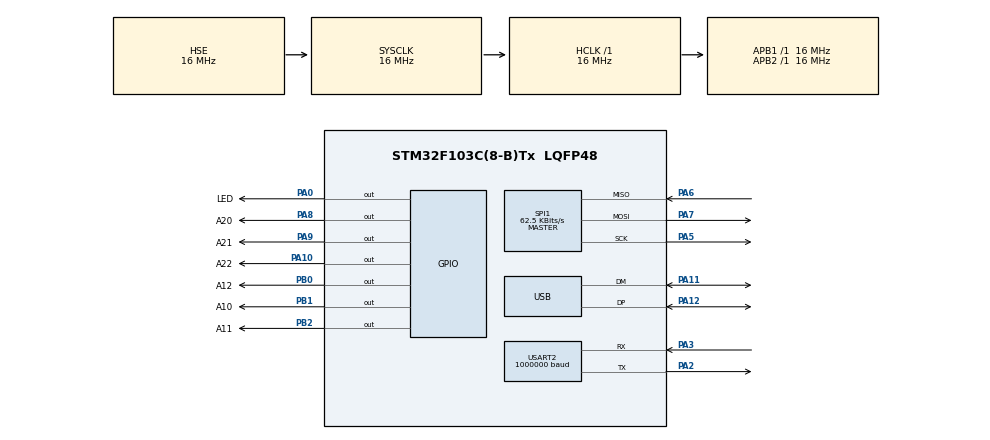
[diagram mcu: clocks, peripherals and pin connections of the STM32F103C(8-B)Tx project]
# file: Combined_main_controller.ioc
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Mcu.Family=STM32F1
Mcu.Name=STM32F103C(8-B)Tx
Mcu.Package=LQFP48
NVIC.PriorityGroup=NVIC_PRIORITYGROUP_4
NVIC.SPI1_IRQn=true\:0\:0\:false\:false\:true\:true\:true
PA0-WKUP.GPIO_Label=LED
PA0-WKUP.Signal=GPIO_Output
PA10.GPIO_Label=A22
PA10.GPIO_PuPd=GPIO_PULLDOWN
PA10.Signal=GPIO_Output
PA11.Mode=Device
PA11.Signal=USB_DM
PA12.Mode=Device
PA12.Signal=USB_DP
PA13.Mode=Serial_Wire
PA13.Signal=SYS_JTMS-SWDIO
PA14.Mode=Serial_Wire
PA14.Signal=SYS_JTCK-SWCLK
PA2.Mode=Asynchronous
PA2.Signal=USART2_TX
PA3.Mode=Asynchronous
PA3.Signal=USART2_RX
PA5.Mode=Full_Duplex_Master
PA5.Signal=SPI1_SCK
PA6.Mode=Full_Duplex_Master
PA6.Signal=SPI1_MISO
PA7.Mode=Full_Duplex_Master
PA7.Signal=SPI1_MOSI
PA8.GPIO_Label=A20
PA8.GPIO_PuPd=GPIO_PULLDOWN
PA8.Signal=GPIO_Output
PA9.GPIO_Label=A21
PA9.GPIO_PuPd=GPIO_PULLDOWN
PA9.Signal=GPIO_Output
PB0.GPIO_Label=A12
PB0.GPIO_PuPd=GPIO_PULLDOWN
PB0.Signal=GPIO_Output
PB1.GPIO_Label=A10
PB1.GPIO_PuPd=GPIO_PULLDOWN
PB1.Signal=GPIO_Output
PB2.GPIO_Label=A11
PB2.GPIO_PuPd=GPIO_PULLDOWN
PB2.Signal=GPIO_Output
PC14-OSC32_IN.Mode=LSE-External-Oscillator
PC14-OSC32_IN.Signal=RCC_OSC32_IN
PC15-OSC32_OUT.Mode=LSE-External-Oscillator
PC15-OSC32_OUT.Signal=RCC_OSC32_OUT
PD0-OSC_IN.Mode=HSE-External-Oscillator
PD0-OSC_IN.Signal=RCC_OSC_IN
PD1-OSC_OUT.Mode=HSE-External-Oscillator
PD1-OSC_OUT.Signal=RCC_OSC_OUT
ProjectManager.HeapSize=0x200
ProjectManager.StackSize=0x400
ProjectManager.TargetToolchain=STM32CubeIDE
RCC.AHBFreq_Value=16000000
RCC.APB1Freq_Value=16000000
RCC.APB1TimFreq_Value=16000000
RCC.APB2Freq_Value=16000000
RCC.APB2TimFreq_Value=16000000
RCC.HCLKFreq_Value=16000000
RCC.HSE_VALUE=16000000
RCC.PLLMUL=RCC_PLL_MUL3
RCC.SYSCLKFreq_VALUE=16000000
RCC.SYSCLKSource=RCC_SYSCLKSOURCE_HSE
RCC.USBFreq_Value=48000000
SPI1.BaudRatePrescaler=SPI_BAUDRATEPRESCALER_256
SPI1.CLKPhase=SPI_PHASE_2EDGE
SPI1.CalculateBaudRate=62.5 KBits/s
SPI1.Direction=SPI_DIRECTION_2LINES
SPI1.FirstBit=SPI_FIRSTBIT_LSB
SPI1.Mode=SPI_MODE_MASTER
SPI1.VirtualType=VM_MASTER
USART2.BaudRate=1000000
USART2.VirtualMode=VM_ASYNC
board=custom

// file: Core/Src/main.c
/* USER CODE BEGIN Header */
/**
  ******************************************************************************
  * @file           : main.c
  * @brief          : Combined main controller
  ******************************************************************************
  * @attention
  *
  * <h2><center>&copy; Copyright (c) 2022 STMicroelectronics.
  * All rights reserved.</center></h2>
  *
  * This software component is licensed by ST under BSD 3-Clause license,
  * the "License"; You may not use this file except in compliance with the
  * License. You may obtain a copy of the License at:
  *                        opensource.org/licenses/BSD-3-Clause
  *
  ******************************************************************************
  */
/* USER CODE END Header */
#include "main.h"

/* USER CODE BEGIN Includes */
#include <stdio.h>
#include <string.h>
/* USER CODE END Includes */

/* USER CODE BEGIN PTD */
enum{
	TRANSFER_WAIT,
	TRANSFER_COMPLETE,
	TRANSFER_ERROR
};
/* USER CODE END PTD */

/* USER CODE BEGIN PD */
#define BUFFERSIZE 256
/* USER CODE END PD */

SPI_HandleTypeDef hspi1;

UART_HandleTypeDef huart2;

PCD_HandleTypeDef hpcd_USB_FS;

/* USER CODE BEGIN PV */
uint8_t aTxBuffer[BUFFERSIZE] = "This is a msg from the while loop of main controller....\r\n";
uint8_t testBuffer[BUFFERSIZE] = "Before while loop 123\r\n";
uint8_t test1[] = "testpoint1\r\n";
uint8_t test2[] = "testpoint2\r\n";
uint8_t test3[] = "testpoint3\r\n";
uint8_t test4[] = "testpoint4\r\n";
uint8_t test5[] = "testpoint5\r\n";
uint8_t aRxBuffer[BUFFERSIZE]="Initial rx buf from main\r\n";
uint16_t adc_reading;
char msg[10];

/* transfer state */
__IO uint32_t wTransferState = TRANSFER_WAIT;
/* USER CODE END PV */

void SystemClock_Config(void);
static void MX_GPIO_Init(void);
static void MX_SPI1_Init(void);
static void MX_USART2_UART_Init(void);
static void MX_USB_PCD_Init(void);
/* USER CODE BEGIN PFP */
static void Timeout_Error_Handler(void);
static uint16_t Buffercmp(uint8_t *pBuffer1, uint8_t *pBuffer2, uint16_t BufferLength);
/* USER CODE END PFP */

int main(void)
{

  /* MCU Configuration--------------------------------------------------------*/

  /* Reset of all peripherals, Initializes the Flash interface and the Systick. */
  HAL_Init();

  /* Configure the system clock */
  SystemClock_Config();

  /* Initialize all configured peripherals */
  MX_GPIO_Init();
  MX_SPI1_Init();
  MX_USART2_UART_Init();
  MX_USB_PCD_Init();
  /* USER CODE BEGIN 2 */
  HAL_UART_Transmit(&huart2,&testBuffer,sizeof(testBuffer),10);// Sending in normal mode to uart
  HAL_Delay(5000);
  /* USER CODE END 2 */

  /* Infinite loop */
  while (1)
  {

    /* USER CODE BEGIN 3 */
	  //HAL_UART_Transmit(&huart2,&test1,sizeof(test1),10);

	  HAL_GPIO_WritePin(GPIOA,GPIO_PIN_8,1);
	  HAL_GPIO_WritePin(GPIOA,GPIO_PIN_9,0);
	  HAL_GPIO_WritePin(GPIOA,GPIO_PIN_10,0);
	  /*##-1- Start the Full Duplex Communication process ########################*/
	    /* While the SPI in TransmitReceive process, user can transmit data through
	       "aTxBuffer" buffer & receive data through "aRxBuffer" */
	    /* Timeout is set to 5S */
	  //HAL_UART_Transmit(&huart2,&aTxBuffer,sizeof(aTxBuffer),10);
	  HAL_UART_Transmit(&huart2,&aRxBuffer,sizeof(aRxBuffer),100);// Sending in normal mode to uart
	  adc_reading = 99;
	  adc_reading = HAL_SPI_TransmitReceive(&hspi1, (uint8_t *)aTxBuffer, (uint8_t *)aRxBuffer, BUFFERSIZE, 5000);
	  sprintf(msg, "\n error %hu\r\n", adc_reading);
	  HAL_UART_Transmit(&huart2, (uint8_t*)msg, strlen(msg), HAL_MAX_DELAY);

	  //HAL_UART_Transmit(&huart2,&test2,sizeof(test2),10);
	  HAL_Delay(2000);
	  HAL_GPIO_WritePin(GPIOA,GPIO_PIN_8,0);

//	  n=n+1;
//	  if(n==100){
//	  	n=0;
//	  }
	  HAL_Delay(2000);
	  //HAL_UART_Transmit(&huart2,&test3,sizeof(test3),10);

  }
  /* USER CODE END 3 */
}

void SystemClock_Config(void)
{
  RCC_OscInitTypeDef RCC_OscInitStruct = {0};
  RCC_ClkInitTypeDef RCC_ClkInitStruct = {0};
  RCC_PeriphCLKInitTypeDef PeriphClkInit = {0};

  /** Initializes the RCC Oscillators according to the specified parameters
  * in the RCC_OscInitTypeDef structure.
  */
  RCC_OscInitStruct.OscillatorType = RCC_OSCILLATORTYPE_HSE;
  RCC_OscInitStruct.HSEState = RCC_HSE_ON;
  RCC_OscInitStruct.HSEPredivValue = RCC_HSE_PREDIV_DIV1;
  RCC_OscInitStruct.HSIState = RCC_HSI_ON;
  RCC_OscInitStruct.PLL.PLLState = RCC_PLL_ON;
  RCC_OscInitStruct.PLL.PLLSource = RCC_PLLSOURCE_HSE;
  RCC_OscInitStruct.PLL.PLLMUL = RCC_PLL_MUL3;
  if (HAL_RCC_OscConfig(&RCC_OscInitStruct) != HAL_OK)
  {
    Error_Handler();
  }
  /** Initializes the CPU, AHB and APB buses clocks
  */
  RCC_ClkInitStruct.ClockType = RCC_CLOCKTYPE_HCLK|RCC_CLOCKTYPE_SYSCLK
                              |RCC_CLOCKTYPE_PCLK1|RCC_CLOCKTYPE_PCLK2;
  RCC_ClkInitStruct.SYSCLKSource = RCC_SYSCLKSOURCE_HSE;
  RCC_ClkInitStruct.AHBCLKDivider = RCC_SYSCLK_DIV1;
  RCC_ClkInitStruct.APB1CLKDivider = RCC_HCLK_DIV1;
  RCC_ClkInitStruct.APB2CLKDivider = RCC_HCLK_DIV1;

  if (HAL_RCC_ClockConfig(&RCC_ClkInitStruct, FLASH_LATENCY_0) != HAL_OK)
  {
    Error_Handler();
  }
  PeriphClkInit.PeriphClockSelection = RCC_PERIPHCLK_USB;
  PeriphClkInit.UsbClockSelection = RCC_USBCLKSOURCE_PLL;
  if (HAL_RCCEx_PeriphCLKConfig(&PeriphClkInit) != HAL_OK)
  {
    Error_Handler();
  }
}

static void MX_SPI1_Init(void)
{

  /* SPI1 parameter configuration*/
  hspi1.Instance = SPI1;
  hspi1.Init.Mode = SPI_MODE_MASTER;
  hspi1.Init.Direction = SPI_DIRECTION_2LINES;
  hspi1.Init.DataSize = SPI_DATASIZE_8BIT;
  hspi1.Init.CLKPolarity = SPI_POLARITY_LOW;
  hspi1.Init.CLKPhase = SPI_PHASE_2EDGE;
  hspi1.Init.NSS = SPI_NSS_SOFT;
  hspi1.Init.BaudRatePrescaler = SPI_BAUDRATEPRESCALER_256;
  hspi1.Init.FirstBit = SPI_FIRSTBIT_LSB;
  hspi1.Init.TIMode = SPI_TIMODE_DISABLE;
  hspi1.Init.CRCCalculation = SPI_CRCCALCULATION_DISABLE;
  hspi1.Init.CRCPolynomial = 10;
  if (HAL_SPI_Init(&hspi1) != HAL_OK)
  {
    Error_Handler();
  }

}

static void MX_USART2_UART_Init(void)
{

  huart2.Instance = USART2;
  huart2.Init.BaudRate = 1000000;
  huart2.Init.WordLength = UART_WORDLENGTH_8B;
  huart2.Init.StopBits = UART_STOPBITS_1;
  huart2.Init.Parity = UART_PARITY_NONE;
  huart2.Init.Mode = UART_MODE_TX_RX;
  huart2.Init.HwFlowCtl = UART_HWCONTROL_NONE;
  huart2.Init.OverSampling = UART_OVERSAMPLING_16;
  if (HAL_UART_Init(&huart2) != HAL_OK)
  {
    Error_Handler();
  }

}

static void MX_USB_PCD_Init(void)
{

  hpcd_USB_FS.Instance = USB;
  hpcd_USB_FS.Init.dev_endpoints = 8;
  hpcd_USB_FS.Init.speed = PCD_SPEED_FULL;
  hpcd_USB_FS.Init.low_power_enable = DISABLE;
  hpcd_USB_FS.Init.lpm_enable = DISABLE;
  hpcd_USB_FS.Init.battery_charging_enable = DISABLE;
  if (HAL_PCD_Init(&hpcd_USB_FS) != HAL_OK)
  {
    Error_Handler();
  }

}

static void MX_GPIO_Init(void)
{
  GPIO_InitTypeDef GPIO_InitStruct = {0};

  /* GPIO Ports Clock Enable */
  __HAL_RCC_GPIOC_CLK_ENABLE();
  __HAL_RCC_GPIOD_CLK_ENABLE();
  __HAL_RCC_GPIOA_CLK_ENABLE();
  __HAL_RCC_GPIOB_CLK_ENABLE();

  /*Configure GPIO pin Output Level */
  HAL_GPIO_WritePin(GPIOA, LED_Pin|A20_Pin|A21_Pin|A22_Pin, GPIO_PIN_RESET);

  /*Configure GPIO pin Output Level */
  HAL_GPIO_WritePin(GPIOB, A12_Pin|A10_Pin|A11_Pin, GPIO_PIN_RESET);

  /*Configure GPIO pin : LED_Pin */
  GPIO_InitStruct.Pin = LED_Pin;
  GPIO_InitStruct.Mode = GPIO_MODE_OUTPUT_PP;
  GPIO_InitStruct.Pull = GPIO_NOPULL;
  GPIO_InitStruct.Speed = GPIO_SPEED_FREQ_LOW;
  HAL_GPIO_Init(LED_GPIO_Port, &GPIO_InitStruct);

  /*Configure GPIO pins : A12_Pin A10_Pin A11_Pin */
  GPIO_InitStruct.Pin = A12_Pin|A10_Pin|A11_Pin;
  GPIO_InitStruct.Mode = GPIO_MODE_OUTPUT_PP;
  GPIO_InitStruct.Pull = GPIO_PULLDOWN;
  GPIO_InitStruct.Speed = GPIO_SPEED_FREQ_LOW;
  HAL_GPIO_Init(GPIOB, &GPIO_InitStruct);

  /*Configure GPIO pins : A20_Pin A21_Pin A22_Pin */
  GPIO_InitStruct.Pin = A20_Pin|A21_Pin|A22_Pin;
  GPIO_InitStruct.Mode = GPIO_MODE_OUTPUT_PP;
  GPIO_InitStruct.Pull = GPIO_PULLDOWN;
  GPIO_InitStruct.Speed = GPIO_SPEED_FREQ_LOW;
  HAL_GPIO_Init(GPIOA, &GPIO_InitStruct);

}

/* USER CODE BEGIN 4 */
/**
  * @brief  TxRx Transfer completed callback.
  * @param  hspi: SPI handle
  * @note   This example shows a simple way to report end of DMA TxRx transfer, and
  *         you can add your own implementation.
  * @retval None
  */
void HAL_SPI_TxRxCpltCallback(SPI_HandleTypeDef *hspi)
{
  wTransferState = TRANSFER_COMPLETE;
}

/**
  * @brief  SPI error callbacks.
  * @param  hspi: SPI handle
  * @note   This example shows a simple way to report transfer error, and you can
  *         add your own implementation.
  * @retval None
  */
void HAL_SPI_ErrorCallback(SPI_HandleTypeDef *hspi)
{
  wTransferState = TRANSFER_ERROR;
}

/**
  * @brief  Compares two buffers.
  * @param  pBuffer1, pBuffer2: buffers to be compared.
  * @param  BufferLength: buffer's length
  * @retval 0  : pBuffer1 identical to pBuffer2
  *         >0 : pBuffer1 differs from pBuffer2
  */
static uint16_t Buffercmp(uint8_t *pBuffer1, uint8_t *pBuffer2, uint16_t BufferLength)
{
  while (BufferLength--)
  {
    if ((*pBuffer1) != *pBuffer2)
    {
      return BufferLength;
    }
    pBuffer1++;
    pBuffer2++;
  }

  return 0;
}

/**
  * @brief  This function is executed in case of error occurrence.
  * @param  None
  * @retval None
  */
static void Timeout_Error_Handler(void)
{
  /* Toggle LED3 on */
  while (1)
  {
	  HAL_UART_Transmit(&huart2,&test4,sizeof(test4),10);
  }
}

/* USER CODE END 4 */

void Error_Handler(void)
{
  /* USER CODE BEGIN Error_Handler_Debug */
  /* User can add his own implementation to report the HAL error return state */
  __disable_irq();
  while (1)
  {
	  HAL_UART_Transmit(&huart2,&test5,sizeof(test5),10);
  }
  /* USER CODE END Error_Handler_Debug */
}

/************************ (C) COPYRIGHT STMicroelectronics *****END OF FILE****/
